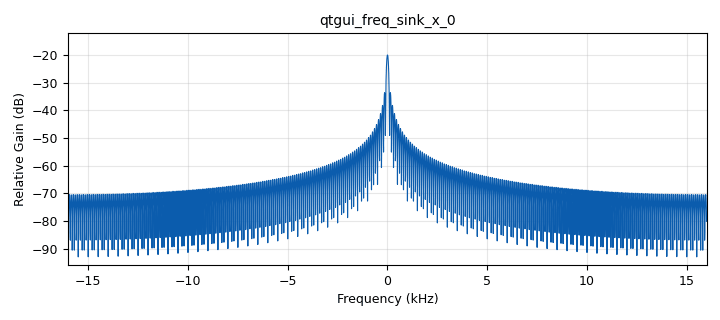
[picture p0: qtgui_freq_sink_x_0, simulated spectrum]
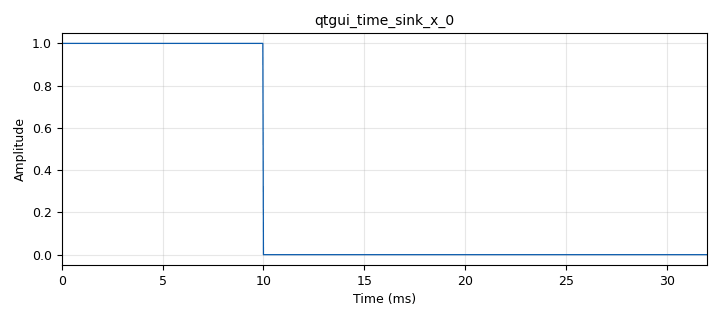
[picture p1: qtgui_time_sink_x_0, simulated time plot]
<?xml version='1.0' encoding='utf-8'?>
<?grc format='1' created='3.7.12'?>
<flow_graph>
<block>
<key>options</key>
<param><key>id</key><value>top_block</value></param>
<param><key>generate_options</key><value>qt_gui</value></param>
</block>
<block>
<key>variable</key>
<param><key>id</key><value>samp_rate</value></param>
<param><key>value</key><value>32000</value></param>
</block>
<block>
<key>variable_tag_object</key>
<param><key>id</key><value>tag</value></param>
<param><key>key</key><value>pmt.intern("t0")</value></param>
<param><key>offset</key><value>0</value></param>
<param><key>src</key><value>pmt.intern("vecsrc")</value></param>
<param><key>value</key><value>pmt.intern("0")</value></param>
</block>
<block>
<key>variable_qtgui_range</key>
<param><key>id</key><value>tau</value></param>
<param><key>value</key><value>0.01</value></param>
<param><key>orient</key><value>Qt.Horizontal</value></param>
<param><key>start</key><value>0</value></param>
<param><key>step</key><value>0.001</value></param>
<param><key>stop</key><value>0.032</value></param>
</block>
<block>
<key>blocks_throttle</key>
<param><key>id</key><value>blocks_throttle_0</value></param>
<param><key>samples_per_second</key><value>samp_rate</value></param>
<param><key>type</key><value>float</value></param>
</block>
<block>
<key>blocks_vector_source_x</key>
<param><key>id</key><value>blocks_vector_source_x_0</value></param>
<param><key>type</key><value>float</value></param>
<param><key>repeat</key><value>True</value></param>
<param><key>tags</key><value>[tag]</value></param>
<param><key>vector</key><value>np.hstack((np.ones(int(tau*samp_rate)), np.zeros(int((0.1-tau)*samp_rate))))</value></param>
</block>
<block>
<key>import</key>
<param><key>id</key><value>import_0</value></param>
<param><key>import</key><value>import numpy as np</value></param>
</block>
<block>
<key>qtgui_freq_sink_x</key>
<param><key>id</key><value>qtgui_freq_sink_x_0</value></param>
<param><key>autoscale</key><value>True</value></param>
<param><key>bw</key><value>samp_rate</value></param>
<param><key>fc</key><value>0</value></param>
<param><key>fftsize</key><value>1024*3</value></param>
<param><key>gui_hint</key><value>0,1</value></param>
<param><key>grid</key><value>True</value></param>
<param><key>showports</key><value>True</value></param>
<param><key>tr_mode</key><value>qtgui.TRIG_MODE_TAG</value></param>
<param><key>tr_tag</key><value>"t0"</value></param>
<param><key>type</key><value>float</value></param>
<param><key>update_time</key><value>0.1</value></param>
<param><key>wintype</key><value>firdes.WIN_BLACKMAN_hARRIS</value></param>
</block>
<block>
<key>qtgui_time_sink_x</key>
<param><key>id</key><value>qtgui_time_sink_x_0</value></param>
<param><key>autoscale</key><value>True</value></param>
<param><key>gui_hint</key><value>0,0</value></param>
<param><key>grid</key><value>True</value></param>
<param><key>color1</key><value>"blue"</value></param>
<param><key>label1</key><value></value></param>
<param><key>size</key><value>1024</value></param>
<param><key>srate</key><value>samp_rate</value></param>
<param><key>tr_delay</key><value>0.0</value></param>
<param><key>tr_mode</key><value>qtgui.TRIG_MODE_TAG</value></param>
<param><key>tr_tag</key><value>"t0"</value></param>
<param><key>type</key><value>float</value></param>
<param><key>update_time</key><value>0.1</value></param>
</block>
<connection><source_block_id>blocks_throttle_0</source_block_id><sink_block_id>qtgui_freq_sink_x_0</sink_block_id><source_key>0</source_key><sink_key>0</sink_key></connection>
<connection><source_block_id>blocks_throttle_0</source_block_id><sink_block_id>qtgui_time_sink_x_0</sink_block_id><source_key>0</source_key><sink_key>0</sink_key></connection>
<connection><source_block_id>blocks_vector_source_x_0</source_block_id><sink_block_id>blocks_throttle_0</sink_block_id><source_key>0</source_key><sink_key>0</sink_key></connection>
</flow_graph>
